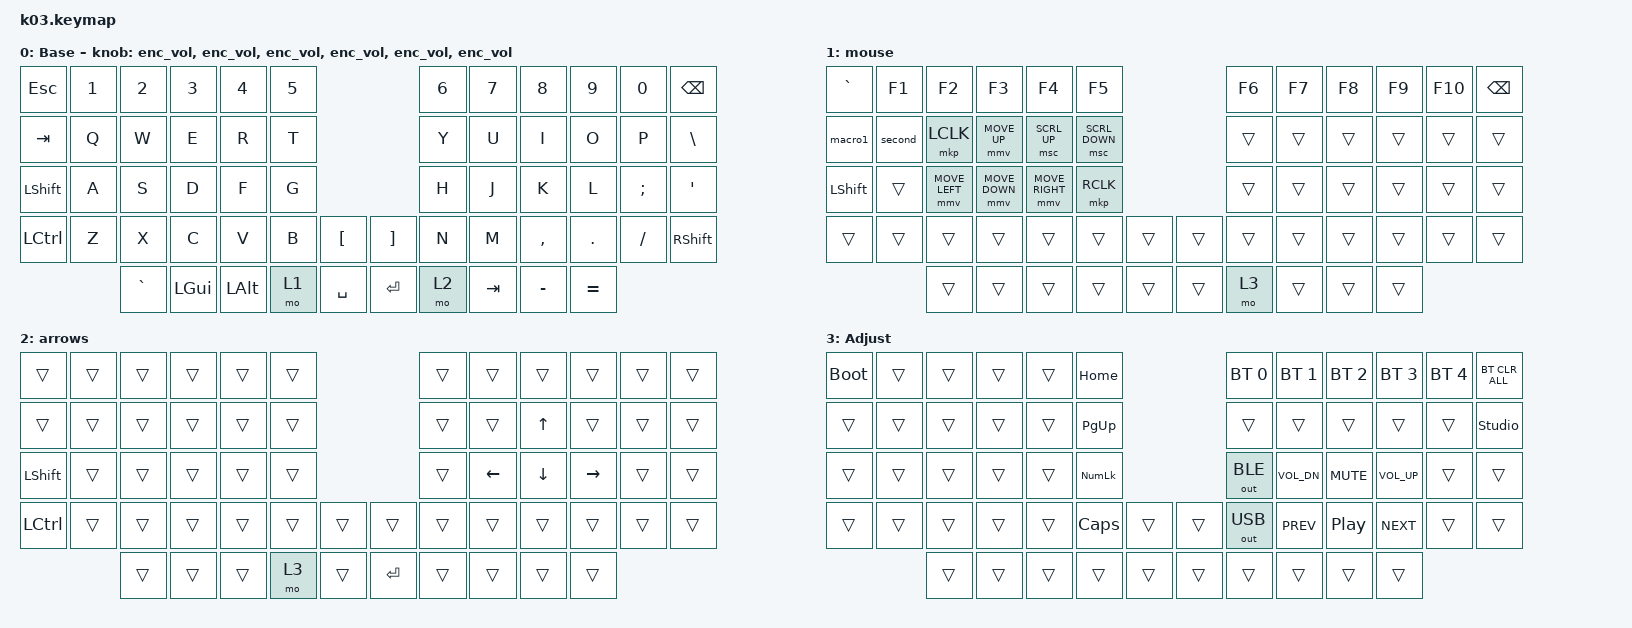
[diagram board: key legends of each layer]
#include "keys_ru.h"

// ===== НАСТРОЙКИ МЫШИ =====
// Увеличиваем скорость курсора (было 600, ставим 800)

#define ZMK_POINTING_DEFAULT_MOVE_VAL 1200

// Увеличиваем скорость прокрутки (было 10, ставим 30 для прокрутки ~3 строк)

#define ZMK_POINTING_DEFAULT_SCRL_VAL 15

// Подключаем заголовок мыши ПОСЛЕ наших определений

#include <behaviors.dtsi>
#include <dt-bindings/zmk/bt.h>
#include <dt-bindings/zmk/keys.h>
#include <dt-bindings/zmk/outputs.h>
#include <dt-bindings/zmk/pointing.h>

&mmv {
    time-to-max-speed-ms = <800>;
    acceleration-exponent = <3>;
};

&msc { acceleration-exponent = <1>; };

/ {
    behaviors {
        enc_vol: enc_vol {
            compatible = "zmk,behavior-sensor-rotate";
            label = "ENC_VOL";
            #sensor-binding-cells = <0>;
            bindings = <&kp C_VOL_UP>, <&kp C_VOL_DN>;
        };
    };

    macros {
        macro1: macro1 {
            compatible = "zmk,behavior-macro";
            #binding-cells = <0>;
            bindings = <&kp LS(D) &kp R &kp E &kp D &kp I &kp N &kp K &kp A &kp N6 &kp N8 &kp N6 &kp EXCL>;
            label = "MACRO1";
        };

        second: second {
            compatible = "zmk,behavior-macro";
            #binding-cells = <0>;
            bindings = <&kp LS(D) &kp U &kp N1 &kp LS(D) &kp O &kp N9 &kp LS(L) &kp A &kp N4 &kp LS(D) &kp O &kp N0 &kp LS(V) &kp A>;
            label = "SECOND";
        };
    };

    keymap {
        compatible = "zmk,keymap";

        base {
            bindings = <
&kp ESC           &kp N1  &kp N2     &kp N3    &kp N4    &kp N5                          &kp N6  &kp N7   &kp N8     &kp N9     &kp N0    &kp BSPC
&kp TAB           &kp Q   &kp W      &kp E     &kp R     &kp T                           &kp Y   &kp U    &kp I      &kp O      &kp P     &kp BSLH
&kp LEFT_SHIFT    &kp A   &kp S      &kp D     &kp F     &kp G                           &kp H   &kp J    &kp K      &kp L      &kp SEMI  &kp SQT
&kp LEFT_CONTROL  &kp Z   &kp X      &kp C     &kp V     &kp B   &kp LBKT     &kp RBKT   &kp N   &kp M    &kp COMMA  &kp DOT    &kp FSLH  &kp RSHFT
                          &kp GRAVE  &kp LGUI  &kp LALT  &mo 1   &kp SPACE    &kp ENTER  &mo 2   &kp TAB  &kp MINUS  &kp EQUAL
            >;

            display-name = "Base";
            sensor-bindings =
                <&enc_vol>,
                <&enc_vol>,
                <&enc_vol>,
                <&enc_vol>,
                <&enc_vol>,
                <&enc_vol>;
        };

        mouse {
            bindings = <
&kp GRAVE       &kp F1   &kp F2          &kp F3          &kp F4           &kp F5                            &kp F6  &kp F7  &kp F8  &kp F9  &kp F10  &kp BACKSPACE
&macro1         &second  &mkp LCLK       &mmv MOVE_UP    &msc SCRL_UP     &msc SCRL_DOWN                    &trans  &trans  &trans  &trans  &trans   &trans
&kp LEFT_SHIFT  &trans   &mmv MOVE_LEFT  &mmv MOVE_DOWN  &mmv MOVE_RIGHT  &mkp RCLK                         &trans  &trans  &trans  &trans  &trans   &trans
&trans          &trans   &trans          &trans          &trans           &trans          &trans    &trans  &trans  &trans  &trans  &trans  &trans   &trans
                         &trans          &trans          &trans           &trans          &trans    &trans  &mo 3   &trans  &trans  &trans
            >;
        };

        arrows {
            bindings = <
&trans          &trans  &trans  &trans  &trans  &trans                       &trans  &trans    &trans    &trans     &trans  &trans
&trans          &trans  &trans  &trans  &trans  &trans                       &trans  &trans    &kp UP    &trans     &trans  &trans
&kp LEFT_SHIFT  &trans  &trans  &trans  &trans  &trans                       &trans  &kp LEFT  &kp DOWN  &kp RIGHT  &trans  &trans
&kp LCTRL       &trans  &trans  &trans  &trans  &trans  &trans    &trans     &trans  &trans    &trans    &trans     &trans  &trans
                        &trans  &trans  &trans  &mo 3   &trans    &kp ENTER  &trans  &trans    &trans    &trans
            >;
        };

        adj {
            bindings = <
&bootloader  &trans  &trans  &trans  &trans  &kp HOME                          &bt BT_SEL 0  &bt BT_SEL 1  &bt BT_SEL 2      &bt BT_SEL 3  &bt BT_SEL 4  &bt BT_CLR_ALL
&trans       &trans  &trans  &trans  &trans  &kp PG_UP                         &trans        &trans        &trans            &trans        &trans        &studio_unlock
&trans       &trans  &trans  &trans  &trans  &kp KP_NUMLOCK                    &out OUT_BLE  &kp C_VOL_DN  &kp C_MUTE        &kp C_VOL_UP  &trans        &trans
&trans       &trans  &trans  &trans  &trans  &kp CAPSLOCK    &trans    &trans  &out OUT_USB  &kp C_PREV    &kp C_PLAY_PAUSE  &kp C_NEXT    &trans        &trans
                     &trans  &trans  &trans  &trans          &trans    &trans  &trans        &trans        &trans            &trans
            >;

            display-name = "Adjust";
        };
    };
};
